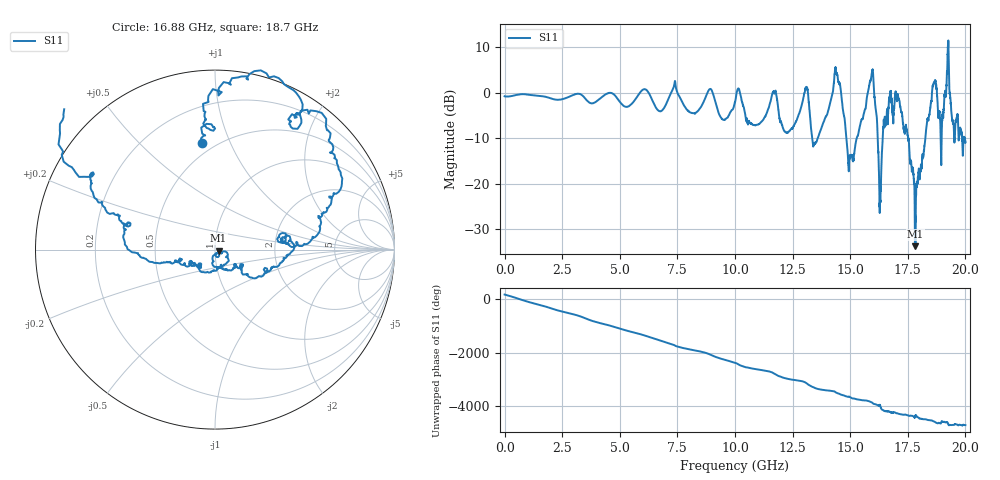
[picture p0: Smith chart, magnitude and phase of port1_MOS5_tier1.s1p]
! Created with skrf 1.8.0 (http://scikit-rf.org).
# GHz S RI R 50.0
!freq ReS11 ImS11
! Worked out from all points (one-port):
!   10001 points, 1 MHz to 20 GHz, reference 50 ohm
!   lowest |S11| = -33.8 dB at 17.83 GHz (marker M1), VSWR 1.04, Z = 52 - j0.544 ohm
!   |S11| at or under -10 dB: 13.35 GHz to 13.59 GHz (244 MHz wide, 1.81 % of centre); 14.83 GHz to 15.29 GHz (453.2 MHz wide, 3.01 % of centre); 17.51 GHz to 18.26 GHz (749 MHz wide, 4.19 % of centre) (the widest 3 of 13)
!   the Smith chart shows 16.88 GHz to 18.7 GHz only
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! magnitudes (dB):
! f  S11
! 1 MHz  -0.8
! 2.501 GHz  -1.5
! 5.001 GHz  -2.0
! 7.501 GHz  0.0
! 8.203 GHz  -4.5
! 8.945 GHz  0.8
! 9.503 GHz  -6.0
! 10 GHz  -2.2
! 10.92 GHz  -7.1
! 11.71 GHz  -0.2
! 12.12 GHz  -8.3
! 12.5 GHz  -7.8
! 13.09 GHz  0.9
! 13.48 GHz  -11.2
! 14.4 GHz  4.2
! 15 GHz  -14.2
! 15.92 GHz  3.8
! 16.07 GHz  -1.3
! 16.3 GHz  -24.1
! 16.71 GHz  -1.7
! 17.05 GHz  -0.8
! 17.5 GHz  -9.6
! 17.83 GHz  -33.8
! 18.65 GHz  2.4
! 18.96 GHz  -15.2
! 19.26 GHz  11.5
! 19.47 GHz  -6.8
! 20 GHz  -10.9
